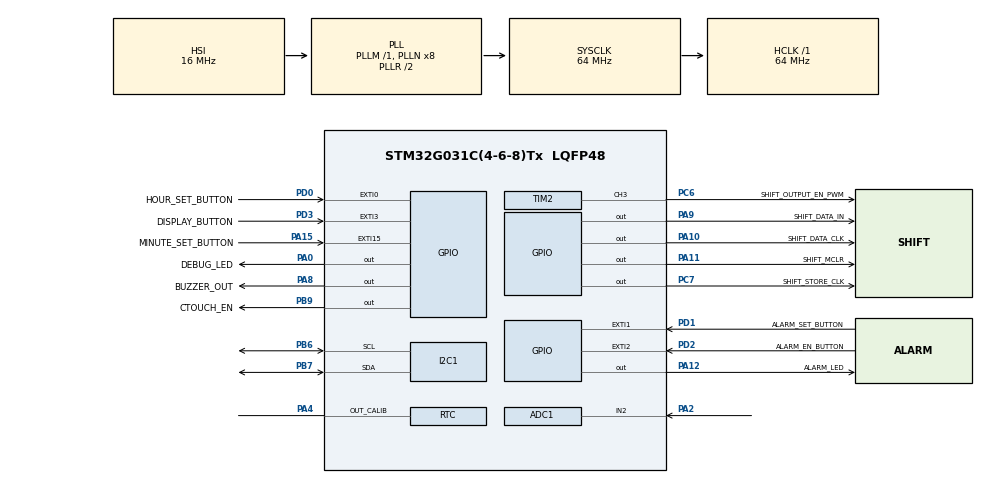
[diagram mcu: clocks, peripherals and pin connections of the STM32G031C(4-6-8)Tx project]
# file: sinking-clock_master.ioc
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ADC1.Channel-6\#ChannelRegularConversion=ADC_CHANNEL_2
ADC1.NbrOfConversionFlag=1
ADC1.Rank-6\#ChannelRegularConversion=1
ADC1.SamplingTime-6\#ChannelRegularConversion=ADC_SAMPLINGTIME_COMMON_1
ADC1.SelectedChannel=ADC_CHANNEL_2
ADC1.master=1
I2C1.Timing=0x10707DBC
Mcu.Family=STM32G0
Mcu.Name=STM32G031C(4-6-8)Tx
Mcu.Package=LQFP48
NVIC.EXTI0_1_IRQn=true\:1\:0\:true\:false\:true\:true\:true\:true
NVIC.EXTI2_3_IRQn=true\:0\:0\:false\:false\:true\:true\:true\:true
NVIC.EXTI4_15_IRQn=true\:1\:0\:true\:false\:true\:true\:true\:true
NVIC.RTC_TAMP_IRQn=true\:0\:0\:false\:false\:true\:true\:true\:true
PA0.GPIO_Label=DEBUG_LED
PA0.Signal=GPIO_Output
PA10.GPIO_Label=SHIFT_DATA_CLK
PA10.Signal=GPIO_Output
PA11\ [PA9].GPIO_Label=SHIFT_MCLR
PA11\ [PA9].Signal=GPIO_Output
PA12\ [PA10].GPIO_Label=ALARM_LED
PA12\ [PA10].Signal=GPIO_Output
PA13.Mode=Serial_Wire
PA13.Signal=SYS_SWDIO
PA14-BOOT0.Mode=Serial_Wire
PA14-BOOT0.Signal=SYS_SWCLK
PA15.GPIO_Label=MINUTE_SET_BUTTON
PA15.GPIO_ModeDefaultEXTI=GPIO_MODE_IT_FALLING
PA15.GPIO_PuPd=GPIO_PULLUP
PA15.Signal=GPXTI15
PA2.Mode=IN2
PA2.Signal=ADC1_IN2
PA4.Mode=Calibration_512Hz
PA4.Signal=RTC_OUT_CALIB
PA8.GPIO_Label=BUZZER_OUT
PA8.Signal=GPIO_Output
PA9.GPIO_Label=SHIFT_DATA_IN
PA9.Signal=GPIO_Output
PB6.Mode=I2C
PB6.Signal=I2C1_SCL
PB7.Mode=I2C
PB7.Signal=I2C1_SDA
PB9.GPIO_Label=CTOUCH_EN
PB9.Signal=GPIO_Output
PC14-OSC32_IN\ (PC14).Mode=LSE-External-Oscillator
PC14-OSC32_IN\ (PC14).Signal=RCC_OSC32_IN
PC15-OSC32_OUT\ (PC15).Mode=LSE-External-Oscillator
PC15-OSC32_OUT\ (PC15).Signal=RCC_OSC32_OUT
PC6.GPIO_Label=SHIFT_OUTPUT_EN_PWM
PC6.Signal=S_TIM2_CH3
PC7.GPIO_Label=SHIFT_STORE_CLK
PC7.Signal=GPIO_Output
PD0.GPIO_Label=HOUR_SET_BUTTON
PD0.GPIO_ModeDefaultEXTI=GPIO_MODE_IT_FALLING
PD0.GPIO_PuPd=GPIO_PULLUP
PD0.Signal=GPXTI0
PD1.GPIO_Label=ALARM_SET_BUTTON
PD1.GPIO_ModeDefaultEXTI=GPIO_MODE_IT_FALLING
PD1.GPIO_PuPd=GPIO_PULLUP
PD1.Signal=GPXTI1
PD2.GPIO_Label=ALARM_EN_BUTTON
PD2.GPIO_ModeDefaultEXTI=GPIO_MODE_IT_FALLING
PD2.GPIO_PuPd=GPIO_PULLUP
PD2.Signal=GPXTI2
PD3.GPIO_Label=DISPLAY_BUTTON
PD3.GPIO_ModeDefaultEXTI=GPIO_MODE_IT_FALLING
PD3.GPIO_PuPd=GPIO_PULLUP
PD3.Signal=GPXTI3
ProjectManager.HeapSize=0x200
ProjectManager.StackSize=0x400
ProjectManager.TargetToolchain=STM32CubeIDE
RCC.ADCFreq_Value=64000000
RCC.AHBFreq_Value=64000000
RCC.CortexFreq_Value=64000000
RCC.EXTERNAL_CLOCK_VALUE=12288000
RCC.HCLKFreq_Value=64000000
RCC.HSE_VALUE=8000000
RCC.HSI_VALUE=16000000
RCC.RTCClockSelection=RCC_RTCCLKSOURCE_LSE
RCC.SYSCLKFreq_VALUE=64000000
RCC.SYSCLKSource=RCC_SYSCLKSOURCE_PLLCLK
RCC.VCOOutputFreq_Value=128000000
RTC.Alarm-Alarm\ A=RTC_ALARM_A
RTC.AlarmMaskDateWeekDay-Alarm\ A=RTC_ALARMMASK_DATEWEEKDAY
RTC.AlarmMaskHours-Alarm\ A=RTC_ALARMMASK_HOURS
RTC.AlarmMaskSeconds-Alarm\ A=RTC_ALARMMASK_SECONDS
RTC.Hours_A-Alarm\ A=1
RTC.Minutes_A-Alarm\ A=1
SH.S_TIM2_CH3.0=TIM2_CH3,PWM Generation3 CH3
TIM14.Prescaler=244*4
TIM2.Channel-PWM\ Generation3\ CH3=TIM_CHANNEL_3
TIM2.Period=100-1
TIM2.Prescaler=800-1
VP_RTC_VS_RTC_Activate.Mode=RTC_Enabled
VP_RTC_VS_RTC_Alarm_A_Intern.Mode=Alarm A
VP_RTC_VS_RTC_Calendar.Mode=RTC_Calendar
VP_TIM14_VS_ClockSourceINT.Mode=Enable_Timer
board=custom

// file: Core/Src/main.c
/* USER CODE BEGIN Header */
/**
  ******************************************************************************
  * @file           : main.c
  * @brief          : Main program body
  ******************************************************************************
  * @attention
  *
  * Copyright (c) 2024 STMicroelectronics.
  * All rights reserved.
  *
  * This software is licensed under terms that can be found in the LICENSE file
  * in the root directory of this software component.
  * If no LICENSE file comes with this software, it is provided AS-IS.
  *
  ******************************************************************************
  */
/* USER CODE END Header */
#include "main.h"

/* USER CODE BEGIN Includes */

#include "sevSeg_shift.h"
#include "alarm.h"
#include "sinkingClockVars.h"

/* USER CODE END Includes */

ADC_HandleTypeDef hadc1;

I2C_HandleTypeDef hi2c1;

RTC_HandleTypeDef hrtc;

TIM_HandleTypeDef htim2;
TIM_HandleTypeDef htim14;

/* USER CODE BEGIN PV */

TIM_HandleTypeDef *timerDelay = &htim14;
TIM_HandleTypeDef *timerPWM = &htim2;
uint32_t tim_PWM_CHANNEL = TIM_CHANNEL_3;

/*
 * RTC access objects
 */

RTC_TimeTypeDef currTime = {0};
RTC_DateTypeDef currDate = {0};
RTC_AlarmTypeDef userAlarmObj = {0};
RTC_TimeTypeDef userAlarmTime = {0};

/*
 * State bools
 */
bool alarmSetMode = false;

/* USER CODE END PV */

void SystemClock_Config(void);
static void MX_GPIO_Init(void);
static void MX_ADC1_Init(void);
static void MX_RTC_Init(void);
static void MX_I2C1_Init(void);
static void MX_TIM14_Init(void);
static void MX_TIM2_Init(void);
/* USER CODE BEGIN PFP */

/*
 * Call to fetch the current time from the RTC and send to the LED display.
 *
 * @param none
 *
 * @ret HAL status object
 */
HAL_StatusTypeDef updateAndDisplayTime(void);

/*
 * Call to fetch the current alarm from the RTC and send to the LED display.
 *
 * @param none
 *
 * @ret HAL status object
 */
HAL_StatusTypeDef updateAndDisplayAlarm(void);

/*
 * Called on interrupt from display button to toggle 7-segment intensity.
 *
 * @param none
 *
 * @ret HAL status object
 */
HAL_StatusTypeDef displayButtonISR(void);

/*
 * Called on interrupt from alarm enable button to toggle user alarm.
 *
 * @param none
 *
 * @ret HAL status object
 */
HAL_StatusTypeDef alarmEnableISR(void);

/*
 * Called on interrupt from alarm set button to enter alarm set loop.
 *
 * @param none
 *
 * @ret HAL status object
 */
HAL_StatusTypeDef alarmSetISR(void);

/*
 * Called on interrupt from hour and minute set buttons.
 * Contain logic to set user alarm hour or minute.
 *
 * @param none
 *
 * @ret HAL status object
 */
HAL_StatusTypeDef hourSetISR(void);
HAL_StatusTypeDef minuteSetISR(void);

/*
 * Enters loop to signal user alarm
 */
void userAlarmBeep();

/* USER CODE END PFP */

int main(void)
{

  /* MCU Configuration--------------------------------------------------------*/

  /* Reset of all peripherals, Initializes the Flash interface and the Systick. */
  HAL_Init();

  /* Configure the system clock */
  SystemClock_Config();

  /* Initialize all configured peripherals */
  MX_GPIO_Init();
  MX_ADC1_Init();
  MX_RTC_Init();
  MX_I2C1_Init();
  MX_TIM14_Init();
  MX_TIM2_Init();
  /* USER CODE BEGIN 2 */

  // Initialize all GPIOs to be used with 7 segment display
    sevSeg_Init(shiftDataPin, shiftDataClockPin, shiftStoreClockPin,
				shiftOutputEnablePin, shiftMCLRPin,
				GPIOPortArray, timerDelay, timerPWM, tim_PWM_CHANNEL);

	HAL_StatusTypeDef halRet = updateAndDisplayTime();

	if(halRet != HAL_OK) {		//check HAL
		//printf("HAL Error - TX current time\n\r");
	} else {
		//printf("Display Updated with current time\n\r");
	}

	userAlarmToggle = false;			//Default to off

    // User alarm default value
    userAlarmTime.Hours = 1;
    userAlarmTime.Minutes = 1;
    userAlarmTime.TimeFormat = RTC_HOURFORMAT12_AM;

  /* USER CODE END 2 */

  /* Infinite loop */
  while (1)
  {

  }
}

void SystemClock_Config(void)
{
  RCC_OscInitTypeDef RCC_OscInitStruct = {0};
  RCC_ClkInitTypeDef RCC_ClkInitStruct = {0};

  /** Configure the main internal regulator output voltage
  */
  HAL_PWREx_ControlVoltageScaling(PWR_REGULATOR_VOLTAGE_SCALE1);

  /** Configure LSE Drive Capability
  */
  HAL_PWR_EnableBkUpAccess();
  __HAL_RCC_LSEDRIVE_CONFIG(RCC_LSEDRIVE_LOW);

  /** Initializes the RCC Oscillators according to the specified parameters
  * in the RCC_OscInitTypeDef structure.
  */
  RCC_OscInitStruct.OscillatorType = RCC_OSCILLATORTYPE_HSI|RCC_OSCILLATORTYPE_LSE;
  RCC_OscInitStruct.LSEState = RCC_LSE_ON;
  RCC_OscInitStruct.HSIState = RCC_HSI_ON;
  RCC_OscInitStruct.HSIDiv = RCC_HSI_DIV1;
  RCC_OscInitStruct.HSICalibrationValue = RCC_HSICALIBRATION_DEFAULT;
  RCC_OscInitStruct.PLL.PLLState = RCC_PLL_ON;
  RCC_OscInitStruct.PLL.PLLSource = RCC_PLLSOURCE_HSI;
  RCC_OscInitStruct.PLL.PLLM = RCC_PLLM_DIV1;
  RCC_OscInitStruct.PLL.PLLN = 8;
  RCC_OscInitStruct.PLL.PLLP = RCC_PLLP_DIV2;
  RCC_OscInitStruct.PLL.PLLQ = RCC_PLLQ_DIV2;
  RCC_OscInitStruct.PLL.PLLR = RCC_PLLR_DIV2;
  if (HAL_RCC_OscConfig(&RCC_OscInitStruct) != HAL_OK)
  {
    Error_Handler();
  }

  /** Initializes the CPU, AHB and APB buses clocks
  */
  RCC_ClkInitStruct.ClockType = RCC_CLOCKTYPE_HCLK|RCC_CLOCKTYPE_SYSCLK
                              |RCC_CLOCKTYPE_PCLK1;
  RCC_ClkInitStruct.SYSCLKSource = RCC_SYSCLKSOURCE_PLLCLK;
  RCC_ClkInitStruct.AHBCLKDivider = RCC_SYSCLK_DIV1;
  RCC_ClkInitStruct.APB1CLKDivider = RCC_HCLK_DIV1;

  if (HAL_RCC_ClockConfig(&RCC_ClkInitStruct, FLASH_LATENCY_2) != HAL_OK)
  {
    Error_Handler();
  }
}

static void MX_ADC1_Init(void)
{

  ADC_ChannelConfTypeDef sConfig = {0};

  /** Configure the global features of the ADC (Clock, Resolution, Data Alignment and number of conversion)
  */
  hadc1.Instance = ADC1;
  hadc1.Init.ClockPrescaler = ADC_CLOCK_SYNC_PCLK_DIV2;
  hadc1.Init.Resolution = ADC_RESOLUTION_12B;
  hadc1.Init.DataAlign = ADC_DATAALIGN_RIGHT;
  hadc1.Init.ScanConvMode = ADC_SCAN_DISABLE;
  hadc1.Init.EOCSelection = ADC_EOC_SINGLE_CONV;
  hadc1.Init.LowPowerAutoWait = DISABLE;
  hadc1.Init.LowPowerAutoPowerOff = DISABLE;
  hadc1.Init.ContinuousConvMode = DISABLE;
  hadc1.Init.NbrOfConversion = 1;
  hadc1.Init.DiscontinuousConvMode = DISABLE;
  hadc1.Init.ExternalTrigConv = ADC_SOFTWARE_START;
  hadc1.Init.ExternalTrigConvEdge = ADC_EXTERNALTRIGCONVEDGE_NONE;
  hadc1.Init.DMAContinuousRequests = DISABLE;
  hadc1.Init.Overrun = ADC_OVR_DATA_PRESERVED;
  hadc1.Init.SamplingTimeCommon1 = ADC_SAMPLETIME_1CYCLE_5;
  hadc1.Init.SamplingTimeCommon2 = ADC_SAMPLETIME_1CYCLE_5;
  hadc1.Init.OversamplingMode = DISABLE;
  hadc1.Init.TriggerFrequencyMode = ADC_TRIGGER_FREQ_HIGH;
  if (HAL_ADC_Init(&hadc1) != HAL_OK)
  {
    Error_Handler();
  }

  /** Configure Regular Channel
  */
  sConfig.Channel = ADC_CHANNEL_2;
  sConfig.Rank = ADC_REGULAR_RANK_1;
  sConfig.SamplingTime = ADC_SAMPLINGTIME_COMMON_1;
  if (HAL_ADC_ConfigChannel(&hadc1, &sConfig) != HAL_OK)
  {
    Error_Handler();
  }

}

static void MX_I2C1_Init(void)
{

  hi2c1.Instance = I2C1;
  hi2c1.Init.Timing = 0x10707DBC;
  hi2c1.Init.OwnAddress1 = 0;
  hi2c1.Init.AddressingMode = I2C_ADDRESSINGMODE_7BIT;
  hi2c1.Init.DualAddressMode = I2C_DUALADDRESS_DISABLE;
  hi2c1.Init.OwnAddress2 = 0;
  hi2c1.Init.OwnAddress2Masks = I2C_OA2_NOMASK;
  hi2c1.Init.GeneralCallMode = I2C_GENERALCALL_DISABLE;
  hi2c1.Init.NoStretchMode = I2C_NOSTRETCH_DISABLE;
  if (HAL_I2C_Init(&hi2c1) != HAL_OK)
  {
    Error_Handler();
  }

  /** Configure Analogue filter
  */
  if (HAL_I2CEx_ConfigAnalogFilter(&hi2c1, I2C_ANALOGFILTER_ENABLE) != HAL_OK)
  {
    Error_Handler();
  }

  /** Configure Digital filter
  */
  if (HAL_I2CEx_ConfigDigitalFilter(&hi2c1, 0) != HAL_OK)
  {
    Error_Handler();
  }

}

static void MX_RTC_Init(void)
{

  RTC_TimeTypeDef sTime = {0};
  RTC_DateTypeDef sDate = {0};
  RTC_AlarmTypeDef sAlarm = {0};

  /** Initialize RTC Only
  */
  hrtc.Instance = RTC;
  hrtc.Init.HourFormat = RTC_HOURFORMAT_24;
  hrtc.Init.AsynchPrediv = 127;
  hrtc.Init.SynchPrediv = 255;
  hrtc.Init.OutPut = RTC_OUTPUT_DISABLE;
  hrtc.Init.OutPutRemap = RTC_OUTPUT_REMAP_NONE;
  hrtc.Init.OutPutPolarity = RTC_OUTPUT_POLARITY_HIGH;
  hrtc.Init.OutPutType = RTC_OUTPUT_TYPE_OPENDRAIN;
  hrtc.Init.OutPutPullUp = RTC_OUTPUT_PULLUP_NONE;
  if (HAL_RTC_Init(&hrtc) != HAL_OK)
  {
    Error_Handler();
  }

  /** Initialize RTC and set the Time and Date
  */
  sTime.Hours = 0x0;
  sTime.Minutes = 0x0;
  sTime.Seconds = 0x0;
  sTime.SubSeconds = 0x0;
  sTime.DayLightSaving = RTC_DAYLIGHTSAVING_NONE;
  sTime.StoreOperation = RTC_STOREOPERATION_RESET;
  if (HAL_RTC_SetTime(&hrtc, &sTime, RTC_FORMAT_BCD) != HAL_OK)
  {
    Error_Handler();
  }
  sDate.WeekDay = RTC_WEEKDAY_MONDAY;
  sDate.Month = RTC_MONTH_JANUARY;
  sDate.Date = 0x1;
  sDate.Year = 0x0;

  if (HAL_RTC_SetDate(&hrtc, &sDate, RTC_FORMAT_BCD) != HAL_OK)
  {
    Error_Handler();
  }

  /** Enable the Alarm A
  */
  sAlarm.AlarmTime.Hours = 0x1;
  sAlarm.AlarmTime.Minutes = 0x1;
  sAlarm.AlarmTime.Seconds = 0x0;
  sAlarm.AlarmTime.SubSeconds = 0x0;
  sAlarm.AlarmTime.DayLightSaving = RTC_DAYLIGHTSAVING_NONE;
  sAlarm.AlarmTime.StoreOperation = RTC_STOREOPERATION_RESET;
  sAlarm.AlarmMask = RTC_ALARMMASK_DATEWEEKDAY|RTC_ALARMMASK_HOURS
                              |RTC_ALARMMASK_SECONDS;
  sAlarm.AlarmSubSecondMask = RTC_ALARMSUBSECONDMASK_ALL;
  sAlarm.AlarmDateWeekDaySel = RTC_ALARMDATEWEEKDAYSEL_DATE;
  sAlarm.AlarmDateWeekDay = 0x1;
  sAlarm.Alarm = RTC_ALARM_A;
  if (HAL_RTC_SetAlarm_IT(&hrtc, &sAlarm, RTC_FORMAT_BCD) != HAL_OK)
  {
    Error_Handler();
  }

  /** Enable Calibration
  */
  if (HAL_RTCEx_SetCalibrationOutPut(&hrtc, RTC_CALIBOUTPUT_512HZ) != HAL_OK)
  {
    Error_Handler();
  }

}

static void MX_TIM2_Init(void)
{

  TIM_MasterConfigTypeDef sMasterConfig = {0};
  TIM_OC_InitTypeDef sConfigOC = {0};

  htim2.Instance = TIM2;
  htim2.Init.Prescaler = 800-1;
  htim2.Init.CounterMode = TIM_COUNTERMODE_UP;
  htim2.Init.Period = 100-1;
  htim2.Init.ClockDivision = TIM_CLOCKDIVISION_DIV1;
  htim2.Init.AutoReloadPreload = TIM_AUTORELOAD_PRELOAD_DISABLE;
  if (HAL_TIM_PWM_Init(&htim2) != HAL_OK)
  {
    Error_Handler();
  }
  sMasterConfig.MasterOutputTrigger = TIM_TRGO_RESET;
  sMasterConfig.MasterSlaveMode = TIM_MASTERSLAVEMODE_DISABLE;
  if (HAL_TIMEx_MasterConfigSynchronization(&htim2, &sMasterConfig) != HAL_OK)
  {
    Error_Handler();
  }
  sConfigOC.OCMode = TIM_OCMODE_PWM1;
  sConfigOC.Pulse = 0;
  sConfigOC.OCPolarity = TIM_OCPOLARITY_HIGH;
  sConfigOC.OCFastMode = TIM_OCFAST_DISABLE;
  if (HAL_TIM_PWM_ConfigChannel(&htim2, &sConfigOC, TIM_CHANNEL_3) != HAL_OK)
  {
    Error_Handler();
  }
  HAL_TIM_MspPostInit(&htim2);

}

static void MX_TIM14_Init(void)
{

  htim14.Instance = TIM14;
  htim14.Init.Prescaler = 244*4;
  htim14.Init.CounterMode = TIM_COUNTERMODE_UP;
  htim14.Init.Period = 65535;
  htim14.Init.ClockDivision = TIM_CLOCKDIVISION_DIV1;
  htim14.Init.AutoReloadPreload = TIM_AUTORELOAD_PRELOAD_DISABLE;
  if (HAL_TIM_Base_Init(&htim14) != HAL_OK)
  {
    Error_Handler();
  }

}

static void MX_GPIO_Init(void)
{
  GPIO_InitTypeDef GPIO_InitStruct = {0};

  /* GPIO Ports Clock Enable */
  __HAL_RCC_GPIOC_CLK_ENABLE();
  __HAL_RCC_GPIOA_CLK_ENABLE();
  __HAL_RCC_GPIOD_CLK_ENABLE();
  __HAL_RCC_GPIOB_CLK_ENABLE();

  /*Configure GPIO pin Output Level */
  HAL_GPIO_WritePin(GPIOA, DEBUG_LED_Pin|BUZZER_OUT_Pin|SHIFT_DATA_IN_Pin|SHIFT_DATA_CLK_Pin
                          |SHIFT_MCLR_Pin|ALARM_LED_Pin, GPIO_PIN_RESET);

  /*Configure GPIO pin Output Level */
  HAL_GPIO_WritePin(SHIFT_STORE_CLK_GPIO_Port, SHIFT_STORE_CLK_Pin, GPIO_PIN_RESET);

  /*Configure GPIO pin Output Level */
  HAL_GPIO_WritePin(CTOUCH_EN_GPIO_Port, CTOUCH_EN_Pin, GPIO_PIN_RESET);

  /*Configure GPIO pins : DEBUG_LED_Pin BUZZER_OUT_Pin SHIFT_DATA_IN_Pin SHIFT_DATA_CLK_Pin
                           SHIFT_MCLR_Pin ALARM_LED_Pin */
  GPIO_InitStruct.Pin = DEBUG_LED_Pin|BUZZER_OUT_Pin|SHIFT_DATA_IN_Pin|SHIFT_DATA_CLK_Pin
                          |SHIFT_MCLR_Pin|ALARM_LED_Pin;
  GPIO_InitStruct.Mode = GPIO_MODE_OUTPUT_PP;
  GPIO_InitStruct.Pull = GPIO_NOPULL;
  GPIO_InitStruct.Speed = GPIO_SPEED_FREQ_LOW;
  HAL_GPIO_Init(GPIOA, &GPIO_InitStruct);

  /*Configure GPIO pin : SHIFT_STORE_CLK_Pin */
  GPIO_InitStruct.Pin = SHIFT_STORE_CLK_Pin;
  GPIO_InitStruct.Mode = GPIO_MODE_OUTPUT_PP;
  GPIO_InitStruct.Pull = GPIO_NOPULL;
  GPIO_InitStruct.Speed = GPIO_SPEED_FREQ_LOW;
  HAL_GPIO_Init(SHIFT_STORE_CLK_GPIO_Port, &GPIO_InitStruct);

  /*Configure GPIO pin : MINUTE_SET_BUTTON_Pin */
  GPIO_InitStruct.Pin = MINUTE_SET_BUTTON_Pin;
  GPIO_InitStruct.Mode = GPIO_MODE_IT_FALLING;
  GPIO_InitStruct.Pull = GPIO_PULLUP;
  HAL_GPIO_Init(MINUTE_SET_BUTTON_GPIO_Port, &GPIO_InitStruct);

  /*Configure GPIO pins : HOUR_SET_BUTTON_Pin ALARM_SET_BUTTON_Pin ALARM_EN_BUTTON_Pin DISPLAY_BUTTON_Pin */
  GPIO_InitStruct.Pin = HOUR_SET_BUTTON_Pin|ALARM_SET_BUTTON_Pin|ALARM_EN_BUTTON_Pin|DISPLAY_BUTTON_Pin;
  GPIO_InitStruct.Mode = GPIO_MODE_IT_FALLING;
  GPIO_InitStruct.Pull = GPIO_PULLUP;
  HAL_GPIO_Init(GPIOD, &GPIO_InitStruct);

  /*Configure GPIO pin : CTOUCH_EN_Pin */
  GPIO_InitStruct.Pin = CTOUCH_EN_Pin;
  GPIO_InitStruct.Mode = GPIO_MODE_OUTPUT_PP;
  GPIO_InitStruct.Pull = GPIO_NOPULL;
  GPIO_InitStruct.Speed = GPIO_SPEED_FREQ_LOW;
  HAL_GPIO_Init(CTOUCH_EN_GPIO_Port, &GPIO_InitStruct);

  /* EXTI interrupt init*/
  HAL_NVIC_SetPriority(EXTI0_1_IRQn, 1, 0);
  HAL_NVIC_EnableIRQ(EXTI0_1_IRQn);

  HAL_NVIC_SetPriority(EXTI2_3_IRQn, 0, 0);
  HAL_NVIC_EnableIRQ(EXTI2_3_IRQn);

  HAL_NVIC_SetPriority(EXTI4_15_IRQn, 1, 0);
  HAL_NVIC_EnableIRQ(EXTI4_15_IRQn);

}

/* USER CODE BEGIN 4 */

HAL_StatusTypeDef updateAndDisplayTime(void) {

	HAL_StatusTypeDef halRet = HAL_OK;

	getRTCTime(&hrtc, &currTime, &currDate);
	sevSeg_updateDigits(&currTime);

	return halRet;

}

HAL_StatusTypeDef updateAndDisplayAlarm(void) {

	HAL_StatusTypeDef halRet = HAL_OK;

	sevSeg_updateDigits(&userAlarmTime);

	return halRet;

}

void HAL_RTC_AlarmAEventCallback(RTC_HandleTypeDef *hrtc) {

	  //printf("Enter current time minute increment interrupt\n\r");

	  RTC_AlarmTypeDef sAlarm;
	  getRTCTime(hrtc, &currTime, &currDate);

	  if(sAlarm.AlarmTime.Minutes>58) {
		sAlarm.AlarmTime.Minutes=0;
		//printf("Reset alarm time\n\r");
	  } else {
		sAlarm.AlarmTime.Minutes=sAlarm.AlarmTime.Minutes+1;
	  }
		while(HAL_RTC_SetAlarm_IT(hrtc, &sAlarm, FORMAT_BIN)!=HAL_OK){}

	  updateAndDisplayTime();

	  //printf("Current time: %u : %u : %u\n\r", currTime.Hours, currTime.Minutes, currTime.Seconds);

	  // If alarm is enabled and current time matches user alarm time, set off the alarm.
	  if(userAlarmToggle && userAlarmTime.Hours == currTime.Hours
			  && userAlarmTime.Minutes == currTime.Minutes && userAlarmTime.TimeFormat == currTime.TimeFormat) {
		  userAlarmBeep();
	  }

}

void userAlarmBeep() {

	HAL_TIM_Base_Stop(timerDelay);
	HAL_TIM_Base_Start(timerDelay);						// Begin timer 16 counting (to 500 ms)
	uint32_t timerVal = __HAL_TIM_GET_COUNTER(timerDelay);	// Get initial timer value to compare to
	bool displayBlink = false;

	uint8_t i = 0;

	do {						// Beep buzzer and blink display until snooze button is pressed

		updateAndDisplayTime();				// Update to current time and display

		if(__HAL_TIM_GET_COUNTER(timerDelay) - timerVal >= (65535 / 2)) {		// Use hardware timer to blink/beep display

			sevSeg_setIntensity(timerPWM, tim_PWM_CHANNEL, sevSeg_intensityDuty[displayBlink]);	// Toggle 0% to 50% duty cycle

			HAL_GPIO_TogglePin(buzzerPort, buzzerPin);					// Toggle Buzzer

			timerVal = __HAL_TIM_GET_COUNTER(timerDelay);				// Update timer value

			displayBlink = !displayBlink;							// Toggle display blink counter

			//printf("Display Blink = %u\n\r", displayBlink);

		}

		i++;		// Get rid of. This is just for testing.

//	} while(capTouchTrigger(snoozeButtonPin));
	} while(i < 5);

	HAL_TIM_Base_Stop(timerDelay);

}

void HAL_GPIO_EXTI_Falling_Callback(uint16_t GPIO_Pin) {

	HAL_StatusTypeDef halRet;					// Flag for printing interrupt status

	if(GPIO_Pin == displayButtonPin) {
		halRet = displayButtonISR();
		if (halRet != HAL_OK) {
			//printf("Error toggling display.\n\r");
		} else {
			//printf("Display intensity toggled.\n\r");
		}
	}
	else if(GPIO_Pin == alarmEnableButtonPin) {
		halRet = alarmEnableISR();
		if (halRet != HAL_OK) {
			//printf("Error toggling user alarm.\n\r");
		} else {
			//printf("User alarm toggled.\n\r");
		}
	}
	else if(GPIO_Pin == alarmSetButtonPin) {
		halRet = alarmSetISR();
		if (halRet != HAL_OK) {
			//printf("Error setting user alarm.\n\r");
		} else {
			//printf("User alarm set.\n\r");
		}
	}
	else if(GPIO_Pin == hourSetButtonPin) {
		halRet = hourSetISR();
		if (halRet != HAL_OK) {
			//printf("Error incrementing hour.\n\r");
		} else {
			//printf("Hour increment ISR success.\n\r");
		}
	}
	else if(GPIO_Pin == minuteSetButtonPin) {
		halRet = minuteSetISR();
		if (halRet != HAL_OK) {
			//printf("Error incrementing minute.\n\r");
		} else {
			//printf("Minute increment ISR success.\n\r");
		}
	}
	else {			//Code should never reach here, but do nothing if it does.
		__NOP();
	}

}

HAL_StatusTypeDef displayButtonISR(void) {

	//printf("Entered display toggle ISR\n\r");
	HAL_StatusTypeDef halRet = HAL_OK;

	updateAndDisplayTime();

	sevSeg_setIntensity(timerPWM, tim_PWM_CHANNEL, sevSeg_intensityDuty[displayToggle]);		//Turn display to proper duty cycle

	if(displayToggle >= 2) {			// Increment display toggle or reset back down to 0;
		displayToggle = 0;
//		HAL_GPIO_WritePin(GPIOB, PMLED, GPIO_PIN_RESET);		// If display is off, turn off AM/PM LED
	} else {
		displayToggle++;
	}

	return halRet;				// Return HAL status

}

HAL_StatusTypeDef alarmEnableISR(void) {

	//printf("Entered alarm toggle ISR\n\r");
	HAL_StatusTypeDef halRet = HAL_OK;

	if(!userAlarmToggle) {					// If alarm is disabled, enable it.

		HAL_GPIO_WritePin(alarmLEDPort, alarmLEDPin, GPIO_PIN_SET);			// Turn on alarm LED
		userAlarmToggle = true;								// Toggle internal flag to true

		//printf("User alarm set to: %u:%u:%u.\n\r", userAlarmTime.Hours,
								//userAlarmTime.Minutes, userAlarmTime.Seconds);

	}
	else if (userAlarmToggle) {				// If alarm is enabled, disable it.

		HAL_GPIO_WritePin(alarmLEDPort, alarmLEDPin, GPIO_PIN_RESET);			// Turn off alarm LED
		userAlarmToggle = false;							// Toggle internal flag to false

		//printf("User alarm disabled.\n\r");
	}
	else {
		__NOP();							//Code should never reach here.
	}

	return halRet;

}

HAL_StatusTypeDef alarmSetISR(void) {

	//printf("Enter user alarm set ISR.\n\r");

	//printf("User alarm currently set to %u:%u:%u.\n\r", userAlarmTime.Hours,
			//userAlarmTime.Minutes, userAlarmTime.Seconds);

	HAL_StatusTypeDef halRet = HAL_OK;

	/*
	 * Wait for switch debounce
	 */

	// First wait for button to deactivate again
	while(HAL_GPIO_ReadPin(alarmSetButtonPort, alarmSetButtonPin) != GPIO_PIN_SET);

	// Go through debounce
	HAL_TIM_Base_Stop(timerDelay);
	HAL_TIM_Base_Start(timerDelay);						// Begin timer 16 counting (to 1 s)
	uint32_t timerVal = __HAL_TIM_GET_COUNTER(timerDelay);	// Get initial timer value to compare to

	do {

	}while(__HAL_TIM_GET_COUNTER(timerDelay) - timerVal <= (65536 / 8));

	/*
	 *  Poll for 1 second to see if the alarm set button is pressed again
	 */
	HAL_TIM_Base_Stop(timerDelay);
	HAL_TIM_Base_Start(timerDelay);						// Begin timer 16 counting (to 1 s)
	timerVal = __HAL_TIM_GET_COUNTER(timerDelay);	// Get initial timer value to compare to

	while(__HAL_TIM_GET_COUNTER(timerDelay) - timerVal <= (65536)) {

		if(HAL_GPIO_ReadPin(alarmSetButtonPort, alarmSetButtonPin) == GPIO_PIN_RESET) {
			alarmSetMode = true;
//			HAL_GPIO_WritePin(debugLEDPort, debugLEDPin, GPIO_PIN_SET);
			break;
		}

	}

	// Go through debounce once again
	HAL_TIM_Base_Stop(timerDelay);
	HAL_TIM_Base_Start(timerDelay);						// Begin timer 16 counting (to 1 s)
	timerVal = __HAL_TIM_GET_COUNTER(timerDelay);	// Get initial timer value to compare to

	do {

	}while(__HAL_TIM_GET_COUNTER(timerDelay) - timerVal <= (65536 / 4));

	/*
	 * Then, if we are in alarm set mode, go through the
	 * alarm set process until the button is pressed again
	 */

	HAL_TIM_Base_Stop(timerDelay);
	HAL_TIM_Base_Start(timerDelay);						// Begin timer 16 counting (to 1 s)
	timerVal = __HAL_TIM_GET_COUNTER(timerDelay);	// Get initial timer value to compare to

	if(alarmSetMode) {

		bool displayBlink = false;

		do {											// while the alarm set button is not held down, blink display.

			updateAndDisplayAlarm();

			if(__HAL_TIM_GET_COUNTER(timerDelay) - timerVal >= (65536 / 2)) {

//				HAL_GPIO_TogglePin(debugLEDPort, debugLEDPin);

				sevSeg_setIntensity(timerPWM, tim_PWM_CHANNEL, sevSeg_intensityDuty[displayBlink]);		// Initialize to whatever duty cycle

				timerVal = __HAL_TIM_GET_COUNTER(timerDelay);
				displayBlink = !displayBlink;

			}

		}while(HAL_GPIO_ReadPin(alarmSetButtonPort, alarmSetButtonPin) != GPIO_PIN_RESET);

		HAL_GPIO_WritePin(debugLEDPort, debugLEDPin, GPIO_PIN_RESET);

		sevSeg_setIntensity(timerPWM, tim_PWM_CHANNEL, sevSeg_intensityDuty[1]);			// Turn display back to 50% intensity

		HAL_TIM_Base_Stop(timerDelay);

		updateAndDisplayTime();

	}

	alarmSetMode = false;		// We have exited alarm set mode

	//printf("Current time back to %u:%u:%u.\n\r", currTime.Hours, currTime.Minutes, currTime.Seconds);

	return halRet;

}

HAL_StatusTypeDef hourSetISR(void) {

//	printf("Entered hour set ISR.\n\r");
//	HAL_GPIO_TogglePin(debugLEDPort, debugLEDPin);

	HAL_GPIO_TogglePin(debugLEDPort, debugLEDPin);

	HAL_StatusTypeDef halRet = HAL_OK;

	if(alarmSetMode) {	// If the clock is in alarm set mode, change user alarm time hour

		if(userAlarmTime.Hours >= 12) {
			userAlarmTime.Hours = 1;
			if(userAlarmTime.TimeFormat == RTC_HOURFORMAT12_AM) {
				userAlarmTime.TimeFormat = RTC_HOURFORMAT12_PM;
			} else {
				userAlarmTime.TimeFormat = RTC_HOURFORMAT12_AM;
			}
		}
		else if(userAlarmTime.Hours < 12) {
			userAlarmTime.Hours = userAlarmTime.Hours + 1;
		}
		else {
			__NOP();
		}

		//printf("User alarm hour incremented to %u:%u:%u\n\r", userAlarmTime.Hours,
				//userAlarmTime.Minutes, userAlarmTime.Seconds);

	}
	else {									// Otherwise, change current time hour.

		getRTCTime(&hrtc, &currTime, &currDate);
		if(currTime.Hours >= 12) {
			currTime.Hours = 1;
			if(currTime.TimeFormat == RTC_HOURFORMAT12_AM) {
				currTime.TimeFormat = RTC_HOURFORMAT12_PM;
			} else {
				currTime.TimeFormat = RTC_HOURFORMAT12_AM;
			}
		}
		else if(currTime.Hours < 12) {
			currTime.Hours = currTime.Hours + 1;
		}
		else {
			__NOP();
		}
		HAL_RTC_SetTime(&hrtc, &currTime, RTCTimeFormat);

		updateAndDisplayTime();

		getRTCTime(&hrtc, &currTime, &currDate);

		//printf("Current time hour incremented to %u:%u:%u.\n\r", currTime.Hours,
				//currTime.Minutes, currTime.Seconds);
	}

	return halRet;

}

HAL_StatusTypeDef minuteSetISR(void) {

//	printf("Entered minute set ISR.\n\r");
//	HAL_GPIO_TogglePin(debugLEDPort, debugLEDPin);

	HAL_StatusTypeDef halRet = HAL_OK;

	if(alarmSetMode) {	// If the clock is in alarm set mode, change user alarm time hour

		if(userAlarmTime.Minutes >= 59) {
			userAlarmTime.Minutes = 0;
			userAlarmTime.Hours = userAlarmTime.Hours + 1;
			if(userAlarmTime.Hours > 12) {
				userAlarmTime.Hours = 1;
			}
			if(userAlarmTime.Hours == 12 && userAlarmTime.TimeFormat == RTC_HOURFORMAT12_AM) {
				userAlarmTime.TimeFormat = RTC_HOURFORMAT12_PM;
			} else if(userAlarmTime.Hours == 12 && userAlarmTime.TimeFormat == RTC_HOURFORMAT12_PM) {
				userAlarmTime.TimeFormat = RTC_HOURFORMAT12_AM;
			}
			else {
				__NOP();
			}
		}
		else if(userAlarmTime.Minutes < 59) {
			userAlarmTime.Minutes = userAlarmTime.Minutes + 1;
		}
		else {
			__NOP();
		}

		//printf("User alarm minute incremented to %u:%u:%u\n\r", userAlarmTime.Hours,
				//userAlarmTime.Minutes, userAlarmTime.Seconds);

	}
	else {									// Otherwise, change current time hour.

		getRTCTime(&hrtc, &currTime, &currDate);

		if(currTime.Minutes >= 59) {
			currTime.Minutes = 0;
			currTime.Hours = currTime.Hours + 1;
			if(currTime.Hours > 12) {
				currTime.Hours = 1;
			}
			if(currTime.Hours == 12 && currTime.TimeFormat == RTC_HOURFORMAT12_AM) {
				currTime.TimeFormat = RTC_HOURFORMAT12_PM;
			} else if(currTime.Hours == 12 && currTime.TimeFormat == RTC_HOURFORMAT12_PM) {
				currTime.TimeFormat = RTC_HOURFORMAT12_AM;
			}
			else {
				__NOP();
			}
		}
		else if(currTime.Minutes < 59) {
			currTime.Minutes = currTime.Minutes + 1;
		}
		else {
			__NOP();
		}
		HAL_RTC_SetTime(&hrtc, &currTime, RTCTimeFormat);

		updateAndDisplayTime();

		getRTCTime(&hrtc, &currTime, &currDate);

		//printf("Current time minute incremented to %u:%u:%u.\n\r", currTime.Hours,
				//currTime.Minutes, currTime.Seconds);
	}

	return halRet;
}

/* USER CODE END 4 */

void Error_Handler(void)
{
  __disable_irq();
  while (1)
  {
  }
}
